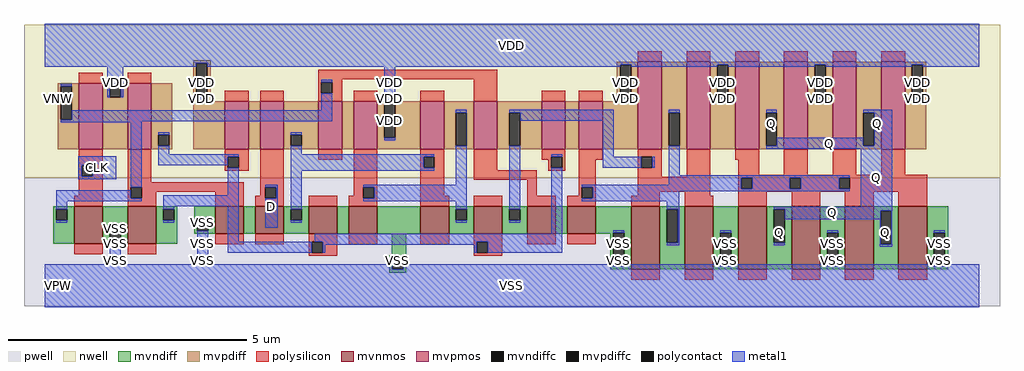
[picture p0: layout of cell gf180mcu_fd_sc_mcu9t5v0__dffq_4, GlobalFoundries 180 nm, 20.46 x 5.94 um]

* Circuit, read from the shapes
.subckt gf180mcu_fd_sc_mcu9t5v0__dffq_4 D CLK Q VDD VNW VPW VSS
XM1 VSS CLK n1 VPW nfet_06v0 w=0.79u l=0.6u
XM2 n2 n1 VSS VPW nfet_06v0 w=0.79u l=0.6u
XM3 n3 n1 VSS VPW nfet_06v0 w=0.58u l=0.6u
XM4 n4 D n3 VPW nfet_06v0 w=0.58u l=0.6u
XM5 n5 n2 n4 VPW nfet_06v0 w=0.58u l=0.6u
XM6 VSS n6 n5 VPW nfet_06v0 w=0.58u l=0.6u
XM7 n6 n4 VSS VPW nfet_06v0 w=0.58u l=0.6u
XM8 n7 n2 n6 VPW nfet_06v0 w=0.58u l=0.6u
XM9 n8 n1 n7 VPW nfet_06v0 w=0.58u l=0.6u
XM10 VSS n9 n8 VPW nfet_06v0 w=0.58u l=0.6u
XM11 n9 n7 VSS VPW nfet_06v0 w=1.32u l=0.6u m=2
XM12 Q n9 VSS VPW nfet_06v0 w=1.32u l=0.6u m=4
XM13 VDD CLK n1 VNW pfet_06v0 w=1.38u l=0.5u
XM14 n2 n1 VDD VNW pfet_06v0 w=1.38u l=0.5u
XM15 n10 n2 VDD VNW pfet_06v0 w=1u l=0.5u
XM16 n4 D n10 VNW pfet_06v0 w=1u l=0.5u
XM17 n11 n1 n4 VNW pfet_06v0 w=1u l=0.5u
XM18 VDD n6 n11 VNW pfet_06v0 w=1u l=0.5u
XM19 n6 n4 VDD VNW pfet_06v0 w=1u l=0.5u
XM20 n7 n1 n6 VNW pfet_06v0 w=1u l=0.5u
XM21 n12 n2 n7 VNW pfet_06v0 w=1u l=0.5u
XM22 VDD n9 n12 VNW pfet_06v0 w=1u l=0.5u
XM23 n9 n7 VDD VNW pfet_06v0 w=1.83u l=0.5u m=2
XM24 Q n9 VDD VNW pfet_06v0 w=1.83u l=0.5u m=4
.ends

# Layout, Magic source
magic
tech gf180mcuD
magscale 1 10
<< nwell >>
rect -86 453 4006 1094
<< pwell >>
rect -86 -86 4006 453
<< mvnmos >>
rect 124 175 244 333
rect 348 175 468 333
rect 716 217 836 333
rect 884 217 1004 333
rect 1108 217 1228 333
rect 1276 217 1396 333
rect 1576 217 1696 333
rect 1800 217 1920 333
rect 2024 217 2144 333
rect 2192 217 2312 333
rect 2460 69 2580 333
rect 2684 69 2804 333
rect 2908 69 3028 333
rect 3132 69 3252 333
rect 3356 69 3476 333
rect 3580 69 3700 333
<< mvpmos >>
rect 144 573 244 849
rect 348 573 448 849
rect 756 573 856 773
rect 904 573 1004 773
rect 1148 573 1248 773
rect 1296 573 1396 773
rect 1576 573 1676 773
rect 1799 573 1899 773
rect 2084 573 2184 773
rect 2240 573 2340 773
rect 2488 573 2588 939
rect 2692 573 2792 939
rect 2896 573 2996 939
rect 3100 573 3200 939
rect 3304 573 3404 939
rect 3508 573 3608 939
<< mvndiff >>
rect 36 320 124 333
rect 36 274 49 320
rect 95 274 124 320
rect 36 175 124 274
rect 244 234 348 333
rect 244 188 273 234
rect 319 188 348 234
rect 244 175 348 188
rect 468 320 556 333
rect 468 274 497 320
rect 543 274 556 320
rect 468 175 556 274
rect 628 276 716 333
rect 628 230 641 276
rect 687 230 716 276
rect 628 217 716 230
rect 836 217 884 333
rect 1004 320 1108 333
rect 1004 274 1033 320
rect 1079 274 1108 320
rect 1004 217 1108 274
rect 1228 217 1276 333
rect 1396 217 1576 333
rect 1696 320 1800 333
rect 1696 274 1725 320
rect 1771 274 1800 320
rect 1696 217 1800 274
rect 1920 320 2024 333
rect 1920 274 1949 320
rect 1995 274 2024 320
rect 1920 217 2024 274
rect 2144 217 2192 333
rect 2312 222 2460 333
rect 2312 217 2385 222
rect 1456 127 1516 217
rect 1445 119 1516 127
rect 1445 114 1517 119
rect 1445 68 1458 114
rect 1504 68 1517 114
rect 2372 82 2385 217
rect 2431 82 2460 222
rect 2372 69 2460 82
rect 2580 320 2684 333
rect 2580 180 2609 320
rect 2655 180 2684 320
rect 2580 69 2684 180
rect 2804 222 2908 333
rect 2804 82 2833 222
rect 2879 82 2908 222
rect 2804 69 2908 82
rect 3028 320 3132 333
rect 3028 180 3057 320
rect 3103 180 3132 320
rect 3028 69 3132 180
rect 3252 222 3356 333
rect 3252 82 3281 222
rect 3327 82 3356 222
rect 3252 69 3356 82
rect 3476 314 3580 333
rect 3476 174 3505 314
rect 3551 174 3580 314
rect 3476 69 3580 174
rect 3700 222 3788 333
rect 3700 82 3729 222
rect 3775 82 3788 222
rect 3700 69 3788 82
rect 1445 55 1517 68
<< mvpdiff >>
rect 624 932 696 945
rect 56 836 144 849
rect 56 696 69 836
rect 115 696 144 836
rect 56 573 144 696
rect 244 836 348 849
rect 244 790 273 836
rect 319 790 348 836
rect 244 573 348 790
rect 448 632 536 849
rect 448 586 477 632
rect 523 586 536 632
rect 448 573 536 586
rect 624 792 637 932
rect 683 792 696 932
rect 2400 926 2488 939
rect 624 773 696 792
rect 2400 786 2413 926
rect 2459 786 2488 926
rect 2400 773 2488 786
rect 624 573 756 773
rect 856 573 904 773
rect 1004 632 1148 773
rect 1004 586 1033 632
rect 1079 586 1148 632
rect 1004 573 1148 586
rect 1248 573 1296 773
rect 1396 760 1576 773
rect 1396 620 1425 760
rect 1471 620 1576 760
rect 1396 573 1576 620
rect 1676 726 1799 773
rect 1676 586 1724 726
rect 1770 586 1799 726
rect 1676 573 1799 586
rect 1899 726 2084 773
rect 1899 586 1949 726
rect 1995 586 2084 726
rect 1899 573 2084 586
rect 2184 573 2240 773
rect 2340 573 2488 773
rect 2588 726 2692 939
rect 2588 586 2617 726
rect 2663 586 2692 726
rect 2588 573 2692 586
rect 2792 926 2896 939
rect 2792 786 2821 926
rect 2867 786 2896 926
rect 2792 573 2896 786
rect 2996 726 3100 939
rect 2996 586 3025 726
rect 3071 586 3100 726
rect 2996 573 3100 586
rect 3200 926 3304 939
rect 3200 786 3229 926
rect 3275 786 3304 926
rect 3200 573 3304 786
rect 3404 726 3508 939
rect 3404 586 3433 726
rect 3479 586 3508 726
rect 3404 573 3508 586
rect 3608 926 3696 939
rect 3608 786 3637 926
rect 3683 786 3696 926
rect 3608 573 3696 786
<< mvndiffc >>
rect 49 274 95 320
rect 273 188 319 234
rect 497 274 543 320
rect 641 230 687 276
rect 1033 274 1079 320
rect 1725 274 1771 320
rect 1949 274 1995 320
rect 1458 68 1504 114
rect 2385 82 2431 222
rect 2609 180 2655 320
rect 2833 82 2879 222
rect 3057 180 3103 320
rect 3281 82 3327 222
rect 3505 174 3551 314
rect 3729 82 3775 222
<< mvpdiffc >>
rect 69 696 115 836
rect 273 790 319 836
rect 477 586 523 632
rect 637 792 683 932
rect 2413 786 2459 926
rect 1033 586 1079 632
rect 1425 620 1471 760
rect 1724 586 1770 726
rect 1949 586 1995 726
rect 2617 586 2663 726
rect 2821 786 2867 926
rect 3025 586 3071 726
rect 3229 786 3275 926
rect 3433 586 3479 726
rect 3637 786 3683 926
<< polysilicon >>
rect 2488 939 2588 983
rect 2692 939 2792 983
rect 2896 939 2996 983
rect 3100 939 3200 983
rect 3304 939 3404 983
rect 3508 939 3608 983
rect 144 849 244 893
rect 348 849 448 893
rect 1148 865 1899 905
rect 1148 852 1248 865
rect 756 773 856 817
rect 904 773 1004 817
rect 1148 806 1161 852
rect 1207 806 1248 852
rect 1148 773 1248 806
rect 1296 773 1396 817
rect 1576 773 1676 817
rect 1799 773 1899 865
rect 2084 773 2184 817
rect 2240 773 2340 817
rect 144 504 244 573
rect 144 458 157 504
rect 203 458 244 504
rect 144 377 244 458
rect 124 333 244 377
rect 348 433 448 573
rect 756 540 856 573
rect 756 494 769 540
rect 815 494 856 540
rect 756 481 856 494
rect 348 412 836 433
rect 348 366 361 412
rect 407 393 836 412
rect 407 366 468 393
rect 348 333 468 366
rect 716 333 836 393
rect 904 412 1004 573
rect 1148 529 1248 573
rect 904 377 926 412
rect 884 366 926 377
rect 972 366 1004 412
rect 1296 412 1396 573
rect 1296 377 1337 412
rect 884 333 1004 366
rect 1108 333 1228 377
rect 1276 366 1337 377
rect 1383 366 1396 412
rect 1276 333 1396 366
rect 1576 540 1676 573
rect 1576 494 1589 540
rect 1635 494 1676 540
rect 1576 377 1676 494
rect 1799 485 1899 573
rect 2084 540 2184 573
rect 2084 529 2125 540
rect 2112 494 2125 529
rect 2171 494 2184 540
rect 1799 445 2064 485
rect 2112 481 2184 494
rect 2240 529 2340 573
rect 2488 540 2588 573
rect 2024 377 2064 445
rect 2240 412 2312 529
rect 2240 377 2253 412
rect 1576 333 1696 377
rect 1800 333 1920 377
rect 2024 333 2144 377
rect 2192 366 2253 377
rect 2299 366 2312 412
rect 2488 494 2501 540
rect 2547 494 2588 540
rect 2488 456 2588 494
rect 2692 456 2792 573
rect 2896 529 2996 573
rect 2488 393 2792 456
rect 2488 377 2580 393
rect 2192 333 2312 366
rect 2460 333 2580 377
rect 2684 377 2792 393
rect 2908 465 2996 529
rect 3100 465 3200 573
rect 3304 465 3404 573
rect 3508 465 3608 573
rect 2908 452 3700 465
rect 2908 406 2921 452
rect 2967 406 3125 452
rect 3171 406 3331 452
rect 3377 406 3700 452
rect 2908 393 3700 406
rect 2684 333 2804 377
rect 2908 333 3028 393
rect 3132 333 3252 393
rect 3356 333 3476 393
rect 3580 333 3700 393
rect 124 131 244 175
rect 348 131 468 175
rect 716 173 836 217
rect 884 173 1004 217
rect 1108 184 1228 217
rect 1108 138 1121 184
rect 1167 138 1228 184
rect 1276 173 1396 217
rect 1108 125 1228 138
rect 1576 173 1696 217
rect 1800 184 1920 217
rect 1800 138 1813 184
rect 1859 138 1920 184
rect 2024 173 2144 217
rect 2192 173 2312 217
rect 1800 125 1920 138
rect 2460 25 2580 69
rect 2684 25 2804 69
rect 2908 25 3028 69
rect 3132 25 3252 69
rect 3356 25 3476 69
rect 3580 25 3700 69
<< polycontact >>
rect 1161 806 1207 852
rect 157 458 203 504
rect 769 494 815 540
rect 361 366 407 412
rect 926 366 972 412
rect 1337 366 1383 412
rect 1589 494 1635 540
rect 2125 494 2171 540
rect 2253 366 2299 412
rect 2501 494 2547 540
rect 2921 406 2967 452
rect 3125 406 3171 452
rect 3331 406 3377 452
rect 1121 138 1167 184
rect 1813 138 1859 184
<< metal1 >>
rect 0 932 3920 1098
rect 0 918 637 932
rect 69 836 115 847
rect 262 836 330 918
rect 262 790 273 836
rect 319 790 330 836
rect 683 926 3920 932
rect 683 918 2413 926
rect 637 781 683 792
rect 1161 852 1207 863
rect 1161 735 1207 806
rect 115 696 1207 735
rect 69 689 1207 696
rect 1425 760 1471 918
rect 2459 918 2821 926
rect 2413 775 2459 786
rect 2867 918 3229 926
rect 2821 775 2867 786
rect 3275 918 3637 926
rect 3229 775 3275 786
rect 3683 918 3920 926
rect 3637 775 3683 786
rect 69 685 407 689
rect 142 504 301 542
rect 142 458 157 504
rect 203 458 301 504
rect 142 447 301 458
rect 361 412 407 685
rect 477 632 523 643
rect 477 551 523 586
rect 1033 632 1079 643
rect 1425 609 1471 620
rect 1724 726 1771 737
rect 1033 551 1079 586
rect 1770 586 1771 726
rect 477 540 815 551
rect 477 505 769 540
rect 49 366 361 401
rect 769 379 815 494
rect 1033 540 1635 551
rect 1033 494 1589 540
rect 1033 483 1635 494
rect 49 355 407 366
rect 49 320 95 355
rect 49 263 95 274
rect 497 333 815 379
rect 497 320 543 333
rect 497 263 543 274
rect 641 276 687 287
rect 273 234 319 245
rect 273 90 319 188
rect 641 90 687 230
rect 769 184 815 333
rect 926 412 978 423
rect 972 366 978 412
rect 926 242 978 366
rect 1033 320 1079 483
rect 1724 423 1771 586
rect 1337 412 1771 423
rect 1383 366 1771 412
rect 1337 355 1771 366
rect 1033 263 1079 274
rect 1725 320 1771 355
rect 1725 263 1771 274
rect 1949 726 2387 737
rect 1995 691 2387 726
rect 1949 320 1995 586
rect 1949 263 1995 274
rect 2125 540 2171 551
rect 2341 540 2387 691
rect 2617 726 2663 737
rect 2341 494 2501 540
rect 2547 494 2558 540
rect 2125 217 2171 494
rect 2617 463 2663 586
rect 3025 726 3071 737
rect 3433 726 3554 737
rect 3071 586 3433 621
rect 3479 586 3554 726
rect 3025 575 3554 586
rect 2617 452 3377 463
rect 2617 423 2921 452
rect 2253 412 2921 423
rect 2299 406 2921 412
rect 2967 406 3125 452
rect 3171 406 3331 452
rect 2299 395 3377 406
rect 2299 366 2662 395
rect 2253 355 2662 366
rect 2609 320 2662 355
rect 3423 331 3554 575
rect 1133 184 2171 217
rect 769 138 1121 184
rect 1167 171 1813 184
rect 1167 138 1178 171
rect 1802 138 1813 171
rect 1859 138 2171 184
rect 2385 222 2431 233
rect 1458 114 1504 125
rect 0 68 1458 90
rect 1504 82 2385 90
rect 2655 180 2662 320
rect 3057 320 3554 331
rect 2609 169 2662 180
rect 2833 222 2879 233
rect 2431 82 2833 90
rect 3103 314 3554 320
rect 3103 279 3505 314
rect 3057 169 3103 180
rect 3281 222 3327 233
rect 2879 82 3281 90
rect 3502 174 3505 279
rect 3551 174 3554 314
rect 3502 163 3554 174
rect 3729 222 3775 233
rect 3327 82 3729 90
rect 3775 82 3920 90
rect 1504 68 3920 82
rect 0 -90 3920 68
<< labels >>
flabel metal1 s 142 447 301 542 0 FreeSans 200 0 0 0 CLK
port 2 nsew clock input
flabel metal1 s 926 242 978 423 0 FreeSans 200 0 0 0 D
port 1 nsew default input
flabel metal1 s 3433 621 3554 737 0 FreeSans 200 0 0 0 Q
port 3 nsew default output
flabel metal1 s 0 918 3920 1098 0 FreeSans 200 0 0 0 VDD
port 4 nsew power bidirectional abutment
flabel metal1 s 641 245 687 287 0 FreeSans 200 0 0 0 VSS
port 7 nsew ground bidirectional abutment
flabel nwell s 10 734 110 834 0 FreeSans 400 0 0 0 VNW
port 5 nsew power bidirectional
flabel pwell s 10 -50 110 50 0 FreeSans 400 0 0 0 VPW
port 6 nsew ground bidirectional
rlabel metal1 s 3025 621 3071 737 1 Q
port 3 nsew default output
rlabel metal1 s 3025 575 3554 621 1 Q
port 3 nsew default output
rlabel metal1 s 3423 331 3554 575 1 Q
port 3 nsew default output
rlabel metal1 s 3057 279 3554 331 1 Q
port 3 nsew default output
rlabel metal1 s 3502 169 3554 279 1 Q
port 3 nsew default output
rlabel metal1 s 3057 169 3103 279 1 Q
port 3 nsew default output
rlabel metal1 s 3502 163 3554 169 1 Q
port 3 nsew default output
rlabel metal1 s 3637 790 3683 918 1 VDD
port 4 nsew power bidirectional abutment
rlabel metal1 s 3229 790 3275 918 1 VDD
port 4 nsew power bidirectional abutment
rlabel metal1 s 2821 790 2867 918 1 VDD
port 4 nsew power bidirectional abutment
rlabel metal1 s 2413 790 2459 918 1 VDD
port 4 nsew power bidirectional abutment
rlabel metal1 s 1425 790 1471 918 1 VDD
port 4 nsew power bidirectional abutment
rlabel metal1 s 637 790 683 918 1 VDD
port 4 nsew power bidirectional abutment
rlabel metal1 s 262 790 330 918 1 VDD
port 4 nsew power bidirectional abutment
rlabel metal1 s 3637 781 3683 790 1 VDD
port 4 nsew power bidirectional abutment
rlabel metal1 s 3229 781 3275 790 1 VDD
port 4 nsew power bidirectional abutment
rlabel metal1 s 2821 781 2867 790 1 VDD
port 4 nsew power bidirectional abutment
rlabel metal1 s 2413 781 2459 790 1 VDD
port 4 nsew power bidirectional abutment
rlabel metal1 s 1425 781 1471 790 1 VDD
port 4 nsew power bidirectional abutment
rlabel metal1 s 637 781 683 790 1 VDD
port 4 nsew power bidirectional abutment
rlabel metal1 s 3637 775 3683 781 1 VDD
port 4 nsew power bidirectional abutment
rlabel metal1 s 3229 775 3275 781 1 VDD
port 4 nsew power bidirectional abutment
rlabel metal1 s 2821 775 2867 781 1 VDD
port 4 nsew power bidirectional abutment
rlabel metal1 s 2413 775 2459 781 1 VDD
port 4 nsew power bidirectional abutment
rlabel metal1 s 1425 775 1471 781 1 VDD
port 4 nsew power bidirectional abutment
rlabel metal1 s 1425 609 1471 775 1 VDD
port 4 nsew power bidirectional abutment
rlabel metal1 s 641 233 687 245 1 VSS
port 7 nsew ground bidirectional abutment
rlabel metal1 s 273 233 319 245 1 VSS
port 7 nsew ground bidirectional abutment
rlabel metal1 s 3729 125 3775 233 1 VSS
port 7 nsew ground bidirectional abutment
rlabel metal1 s 3281 125 3327 233 1 VSS
port 7 nsew ground bidirectional abutment
rlabel metal1 s 2833 125 2879 233 1 VSS
port 7 nsew ground bidirectional abutment
rlabel metal1 s 2385 125 2431 233 1 VSS
port 7 nsew ground bidirectional abutment
rlabel metal1 s 641 125 687 233 1 VSS
port 7 nsew ground bidirectional abutment
rlabel metal1 s 273 125 319 233 1 VSS
port 7 nsew ground bidirectional abutment
rlabel metal1 s 3729 90 3775 125 1 VSS
port 7 nsew ground bidirectional abutment
rlabel metal1 s 3281 90 3327 125 1 VSS
port 7 nsew ground bidirectional abutment
rlabel metal1 s 2833 90 2879 125 1 VSS
port 7 nsew ground bidirectional abutment
rlabel metal1 s 2385 90 2431 125 1 VSS
port 7 nsew ground bidirectional abutment
rlabel metal1 s 1458 90 1504 125 1 VSS
port 7 nsew ground bidirectional abutment
rlabel metal1 s 641 90 687 125 1 VSS
port 7 nsew ground bidirectional abutment
rlabel metal1 s 273 90 319 125 1 VSS
port 7 nsew ground bidirectional abutment
rlabel metal1 s 0 -90 3920 90 1 VSS
port 7 nsew ground bidirectional abutment
<< properties >>
string FIXED_BBOX 0 0 3920 1008
string GDS_END 604694
string GDS_FILE $PDKPATH/libs.ref/gf180mcu_fd_sc_mcu9t5v0/gds/gf180mcu_fd_sc_mcu9t5v0.gds
string GDS_START 595936
string LEFclass core
string LEFsite GF018hv5v_green_sc9
string LEFsymmetry X Y
<< end >>
